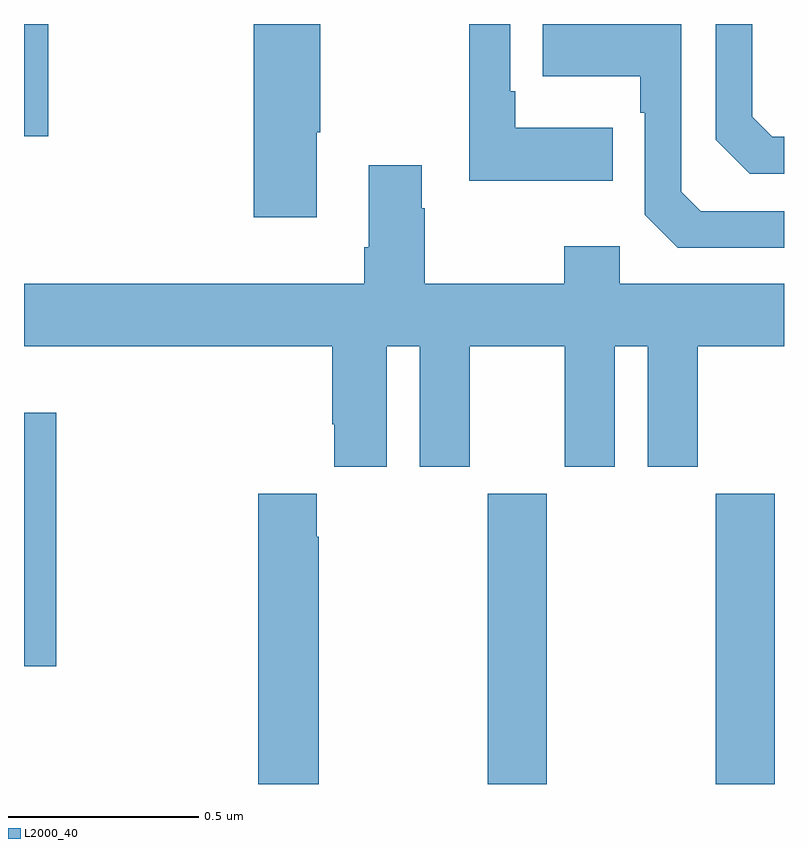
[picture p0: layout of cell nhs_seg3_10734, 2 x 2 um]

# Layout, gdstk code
import gdstk
lib = gdstk.Library(unit=1e-6, precision=1e-09)
def R(c, l, rs):  # rectangles x0, y0, x1, y1
    for r in rs: c.add(gdstk.rectangle(r[:2], r[2:], *l))
def P(c, l, *ps):  # polygons
    for p in ps: c.add(gdstk.Polygon(p, *l))
L2000_40 = (2000, 40)

nhs_seg3_10734 = lib.new_cell('nhs_seg3_10734')
R(nhs_seg3_10734, L2000_40, [(245.221,730.4,245.376,731.164), (245.821,730.4,245.976,731.164), (244,730.71,244.085,731.377), (244,732.105,244.064,732.4)])
P(nhs_seg3_10734, L2000_40, [(245.549,732.127),(245.293,732.127),(245.293,732.223),(245.28,732.223),(245.28,732.4),(245.172,732.4),(245.172,731.987),(245.549,731.987)],
  [(244.771,732.115),(244.779,732.115),(244.779,732.4),(244.604,732.4),(244.604,731.892),(244.771,731.892)],
  [(246,731.907),(245.781,731.907),(245.73,731.958),(245.73,732.4),(245.365,732.4),(245.365,732.263),(245.622,732.263),(245.622,732.167),(245.634,732.167),(245.634,731.898),(245.721,731.811),(246,731.811)],
  [(246,732.103),(245.969,732.103),(245.916,732.156),(245.916,732.4),(245.82,732.4),(245.82,732.096),(245.91,732.006),(246,732.006)],
  [(244.954,731.552),(245.042,731.552),(245.042,731.235),(245.173,731.235),(245.173,731.552),(245.423,731.552),(245.423,731.235),(245.554,731.235),(245.554,731.552),(245.642,731.552),(245.642,731.235),(245.773,731.235),(245.773,731.552),(246,731.552),(246,731.716),(245.568,731.716),(245.568,731.815),(245.422,731.815),(245.422,731.716),(245.055,731.716),(245.055,731.915),(245.047,731.915),(245.047,732.028),(244.907,732.028),(244.907,731.812),(244.895,731.812),(244.895,731.716),(244,731.716),(244,731.552),(244.811,731.552),(244.811,731.347),(244.817,731.347),(244.817,731.235),(244.954,731.235)],
  [(244.776,731.051),(244.771,731.051),(244.771,731.164),(244.616,731.164),(244.616,730.4),(244.776,730.4)])

lib.write_gds('nhs_seg3_10734.gds')
